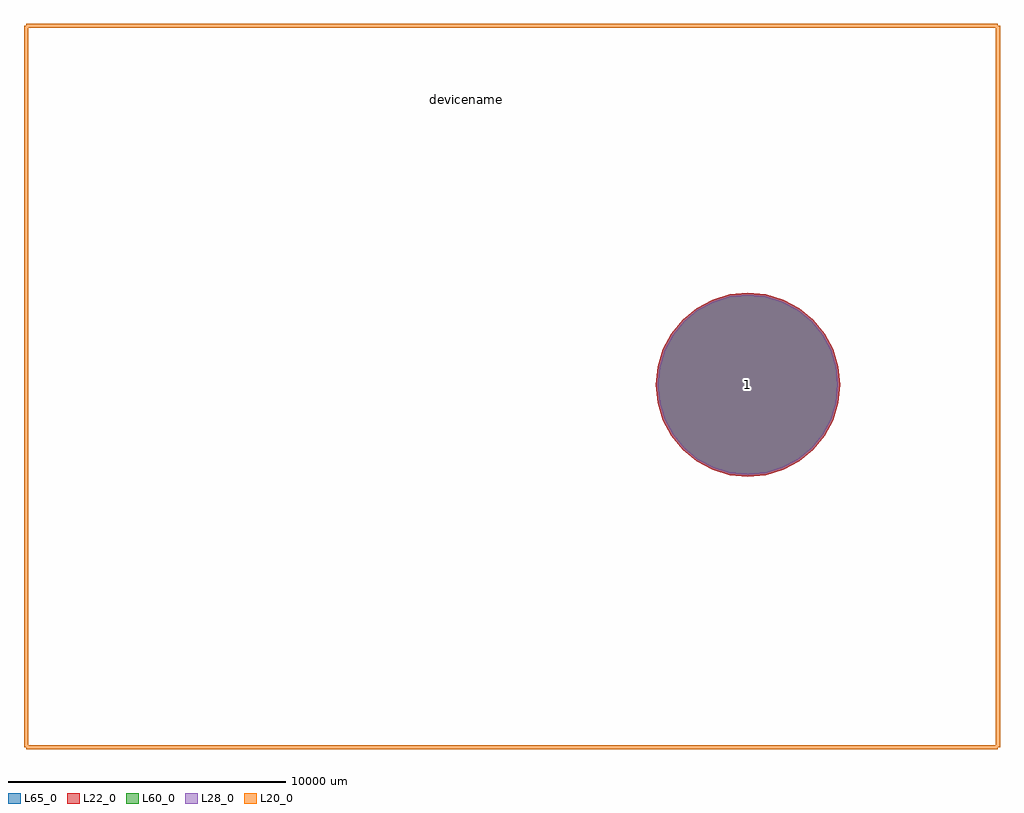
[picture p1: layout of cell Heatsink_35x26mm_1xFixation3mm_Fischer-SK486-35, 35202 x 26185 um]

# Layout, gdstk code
import gdstk
lib = gdstk.Library(unit=1e-6, precision=1e-09)
def P(c, l, *ps):  # polygons
    for p in ps: c.add(gdstk.Polygon(p, *l))
L20_0 = (20, 0)
L22_0 = (22, 0)
L28_0 = (28, 0)
L60_0 = (60, 0)
L65_0 = (65, 0)

heatsink_35x26mm_1xfixat = lib.new_cell('Heatsink_35x26mm_1xFixation3mm_Fischer-SK486-35')
P(heatsink_35x26mm_1xfixat, L22_0, [(29358.66,13081),(29294.797,13729.414),(29105.661,14352.91),(28798.522,14927.527),(28385.183,15431.183),(27881.527,15844.522),(27306.91,16151.661),(26683.414,16340.797),(26035,16404.66),(25386.586,16340.797),(24763.09,16151.661),(24188.473,15844.522),(23684.817,15431.183),(23271.478,14927.527),(22964.339,14352.91),(22775.203,13729.414),(22711.34,13081),(22775.203,12432.586),(22964.339,11809.09),(23271.478,11234.473),(23684.817,10730.817),(24188.473,10317.478),(24763.09,10010.339),(25386.586,9821.203),(26035,9757.34),(26683.414,9821.203),(27306.91,10010.339),(27881.527,10317.478),(28385.183,10730.817),(28798.522,11234.473),(29105.661,11809.09),(29294.797,12432.586)])
P(heatsink_35x26mm_1xfixat, L28_0, [(29283.66,13081),(29221.238,13714.782),(29036.37,14324.208),(28736.162,14885.859),(28332.15,15378.15),(27839.859,15782.162),(27278.208,16082.37),(26668.782,16267.238),(26035,16329.66),(25401.218,16267.238),(24791.792,16082.37),(24230.141,15782.162),(23737.85,15378.15),(23333.838,14885.859),(23033.63,14324.208),(22848.762,13714.782),(22786.34,13081),(22848.762,12447.218),(23033.63,11837.792),(23333.838,11276.141),(23737.85,10783.85),(24230.141,10379.838),(24791.792,10079.63),(25401.218,9894.762),(26035,9832.34),(26668.782,9894.762),(27278.208,10079.63),(27839.859,10379.838),(28332.15,10783.85),(28736.162,11276.141),(29036.37,11837.792),(29221.238,12447.218)])
P(heatsink_35x26mm_1xfixat, L60_0, [(29283.66,13081),(29221.238,13714.782),(29036.37,14324.208),(28736.162,14885.859),(28332.15,15378.15),(27839.859,15782.162),(27278.208,16082.37),(26668.782,16267.238),(26035,16329.66),(25401.218,16267.238),(24791.792,16082.37),(24230.141,15782.162),(23737.85,15378.15),(23333.838,14885.859),(23033.63,14324.208),(22848.762,13714.782),(22786.34,13081),(22848.762,12447.218),(23033.63,11837.792),(23333.838,11276.141),(23737.85,10783.85),(24230.141,10379.838),(24791.792,10079.63),(25401.218,9894.762),(26035,9832.34),(26668.782,9894.762),(27278.208,10079.63),(27839.859,10379.838),(28332.15,10783.85),(28736.162,11276.141),(29036.37,11837.792),(29221.238,12447.218)])
P(heatsink_35x26mm_1xfixat, L65_0, [(29358.66,13081),(29294.797,13729.414),(29105.661,14352.91),(28798.522,14927.527),(28385.183,15431.183),(27881.527,15844.522),(27306.91,16151.661),(26683.414,16340.797),(26035,16404.66),(25386.586,16340.797),(24763.09,16151.661),(24188.473,15844.522),(23684.817,15431.183),(23271.478,14927.527),(22964.339,14352.91),(22775.203,13729.414),(22711.34,13081),(22775.203,12432.586),(22964.339,11809.09),(23271.478,11234.473),(23684.817,10730.817),(24188.473,10317.478),(24763.09,10010.339),(25386.586,9821.203),(26035,9757.34),(26683.414,9821.203),(27306.91,10010.339),(27881.527,10317.478),(28385.183,10730.817),(28798.522,11234.473),(29105.661,11809.09),(29294.797,12432.586)])
heatsink_35x26mm_1xfixat.add(gdstk.FlexPath([(0,26035),(0,0)], 149.998, ends="flush", simple_path=True, layer=20, datatype=0))  # L20_0
heatsink_35x26mm_1xfixat.add(gdstk.FlexPath([(35052,26035),(0,26035)], 149.998, ends="flush", simple_path=True, layer=20, datatype=0))  # L20_0
heatsink_35x26mm_1xfixat.add(gdstk.FlexPath([(35052,0),(35052,26035)], 149.998, ends="flush", simple_path=True, layer=20, datatype=0))  # L20_0
heatsink_35x26mm_1xfixat.add(gdstk.FlexPath([(0,0),(35052,0)], 149.998, ends="flush", simple_path=True, layer=20, datatype=0))  # L20_0
heatsink_35x26mm_1xfixat.add(gdstk.Label('1', (26035,13081), layer=28, texttype=0))
heatsink_35x26mm_1xfixat.add(gdstk.Label('type', (16510,-2794), layer=9, texttype=0))
heatsink_35x26mm_1xfixat.add(gdstk.Label('devicename', (15875,23368), layer=9, texttype=0))

lib.write_gds('Heatsink_35x26mm_1xFixation3mm_Fischer-SK486-35.gds')
